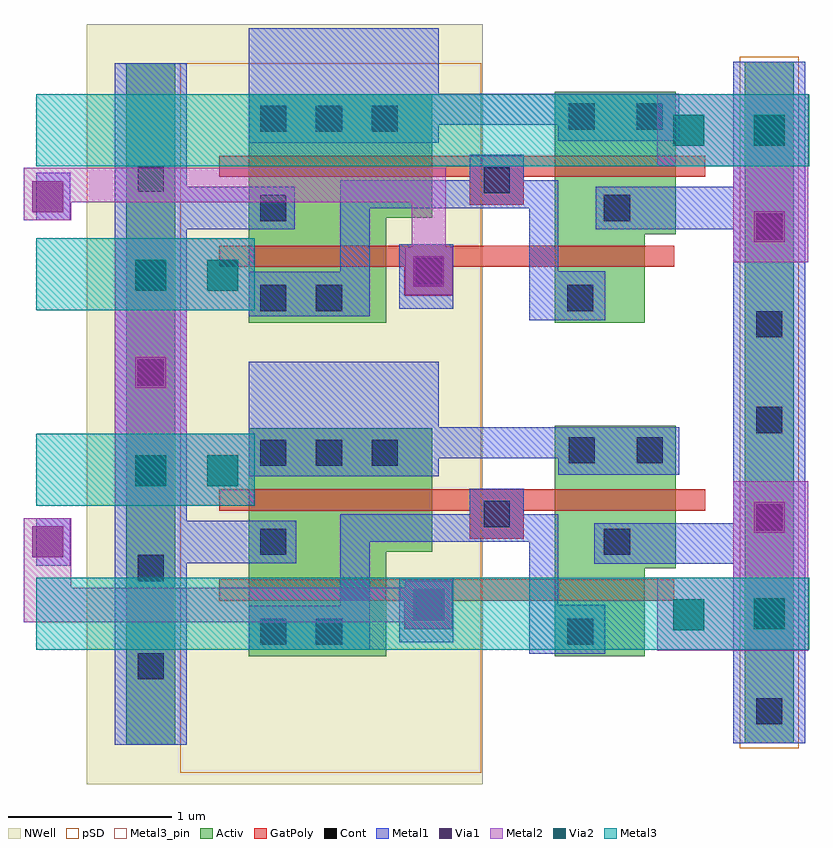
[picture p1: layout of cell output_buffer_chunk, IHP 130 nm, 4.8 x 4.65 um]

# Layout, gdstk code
import gdstk
lib = gdstk.Library(unit=1e-6, precision=1e-09)
def R(c, l, rs):  # rectangles x0, y0, x1, y1
    for r in rs: c.add(gdstk.rectangle(r[:2], r[2:], *l))
def A(c, l, x, y, w, h, nx, ny, dx, dy):  # array of equal rectangles
    R(c, l, [(x+i*dx, y+j*dy, x+i*dx+w, y+j*dy+h) for i in range(nx) for j in range(ny)])
def P(c, l, *ps):  # polygons
    for p in ps: c.add(gdstk.Polygon(p, *l))
Activ = (1, 0)
GatPoly = (5, 0)
Cont = (6, 0)
Metal1 = (8, 0)
Metal2 = (10, 0)
pSD = (14, 0)
Via1 = (19, 0)
Via2 = (29, 0)
Metal3 = (30, 0)
Metal3_pin = (30, 2)
NWell = (31, 0)

output_buffer_chunk = lib.new_cell('output_buffer_chunk')
R(output_buffer_chunk, Activ, [(0.005,0.04,0.305,4.205), (3.785,0.05,4.085,4.215)])
P(output_buffer_chunk, Activ, [(0.755,2.62),(0.755,4.015),(1.875,4.015),(1.875,3.26),(1.595,3.26),(1.595,2.62)],
  [(2.625,2.62),(2.625,4.03),(3.365,4.03),(3.365,3.16),(3.175,3.16),(3.175,2.62)],
  [(2.625,0.58),(2.625,1.99),(3.365,1.99),(3.365,1.12),(3.175,1.12),(3.175,0.58)],
  [(0.755,0.58),(0.755,1.975),(1.875,1.975),(1.875,1.22),(1.595,1.22),(1.595,0.58)])
P(output_buffer_chunk, GatPoly, [(2.105,3.34),(2.105,3.51),(0.575,3.51),(0.575,3.64),(3.545,3.64),(3.545,3.51),(2.435,3.51),(2.435,3.34)],
  [(1.705,2.785),(1.705,2.96),(0.575,2.96),(0.575,3.09),(3.355,3.09),(3.355,2.96),(2.005,2.96),(2.005,2.785)],
  [(2.105,1.3),(2.105,1.47),(0.575,1.47),(0.575,1.6),(3.545,1.6),(3.545,1.47),(2.435,1.47),(2.435,1.3)],
  [(1.705,0.745),(1.705,0.92),(0.575,0.92),(0.575,1.05),(3.355,1.05),(3.355,0.92),(2.005,0.92),(2.005,0.745)])
A(output_buffer_chunk, Cont, 0.825, 1.745, 0.16, 0.16, 3, 2, 0.34, 2.04)
R(output_buffer_chunk, Cont, [(3.855,0.165,4.015,0.325), (0.075,0.44,0.235,0.6), (0.825,0.65,0.985,0.81), (1.165,0.65,1.325,0.81), (2.7,0.65,2.86,0.81), (3.855,0.76,4.015,0.92), (1.775,0.815,1.935,0.975), (0.075,1.04,0.235,1.2), (0.825,1.2,0.985,1.36), (2.925,1.2,3.085,1.36), (3.855,1.35,4.015,1.51), (3.855,1.35,4.015,1.51), (2.19,1.37,2.35,1.53), (0.075,1.635,0.235,1.795), (2.71,1.76,2.87,1.92), (3.125,1.76,3.285,1.92), (3.855,1.945,4.015,2.105), (0.075,2.235,0.235,2.395), (3.855,2.53,4.015,2.69), (0.825,2.69,0.985,2.85), (1.165,2.69,1.325,2.85), (2.7,2.69,2.86,2.85), (0.075,2.83,0.235,2.99), (1.775,2.855,1.935,3.015), (3.855,3.125,4.015,3.285), (0.825,3.24,0.985,3.4), (2.925,3.24,3.085,3.4), (2.19,3.41,2.35,3.57), (0.075,3.42,0.235,3.58), (3.855,3.715,4.015,3.875), (2.71,3.8,2.87,3.96), (3.125,3.8,3.285,3.96)])
R(output_buffer_chunk, Metal1, [(1.675,0.665,2.005,1.06), (-0.545,1.135,-0.335,1.425), (1.675,2.705,2.005,3.1), (-0.545,3.245,-0.335,3.535)])
P(output_buffer_chunk, Metal1, [(0.755,1.68),(0.755,2.38),(1.915,2.38),(1.915,1.98),(3.385,1.98),(3.385,1.69),(2.645,1.69),(2.645,1.79),(1.915,1.79),(1.915,1.68)],
  [(0.755,3.72),(0.755,4.42),(1.915,4.42),(1.915,4.02),(3.385,4.02),(3.385,3.73),(2.645,3.73),(2.645,3.83),(1.915,3.83),(1.915,3.72)],
  [(3.715,0.05),(3.715,1.145),(2.865,1.145),(2.865,1.395),(3.715,1.395),(3.715,3.19),(2.875,3.19),(2.875,3.45),(3.715,3.45),(3.715,4.215),(4.155,4.215),(4.155,0.05)],
  [(-0.065,0.04),(-0.065,4.205),(0.375,4.205),(0.375,3.45),(1.035,3.45),(1.035,3.19),(0.375,3.19),(0.375,1.41),(1.045,1.41),(1.045,1.15),(0.375,1.15),(0.375,0.04)],
  [(2.47,2.635),(2.47,3.32),(1.495,3.32),(1.495,2.66),(0.755,2.66),(0.755,2.93),(1.315,2.93),(1.315,3.49),(2.105,3.49),(2.105,3.645),(2.435,3.645),(2.435,3.49),(2.645,3.49),(2.645,2.935),(2.935,2.935),(2.935,2.635)],
  [(2.47,0.595),(2.47,1.28),(1.495,1.28),(1.495,0.62),(0.755,0.62),(0.755,0.89),(1.315,0.89),(1.315,1.45),(2.105,1.45),(2.105,1.605),(2.435,1.605),(2.435,1.45),(2.645,1.45),(2.645,0.895),(2.935,0.895),(2.935,0.595)])
P(output_buffer_chunk, Metal2, [(3.25,0.615),(3.25,1.06),(3.715,1.06),(3.715,1.65),(4.175,1.65),(4.175,0.615)],
  [(3.715,2.99),(3.715,3.575),(3.25,3.575),(3.25,4.015),(4.175,4.015),(4.175,2.99)],
  [(-0.065,1.5),(-0.065,3.135),(0.79,3.135),(0.79,2.695),(0.375,2.695),(0.375,1.94),(0.79,1.94),(0.79,1.5)],
  [(1.71,2.79),(1.71,3.08),(1.75,3.08),(1.75,3.355),(-0.33,3.355),(-0.33,3.245),(-0.62,3.245),(-0.62,3.565),(-0.33,3.565),(1.96,3.565),(1.96,3.08),(2,3.08),(2,2.79)],
  [(1.71,0.75),(1.71,0.79),(-0.62,0.79),(-0.62,1.425),(-0.33,1.425),(-0.33,1),(1.71,1),(1.71,1.04),(2,1.04),(2,0.75)])
R(output_buffer_chunk, pSD, [(0.335,-0.13,2.175,4.205), (3.755,0.02,4.115,4.245)])
R(output_buffer_chunk, Via1, [(3.84,0.745,4.03,0.935), (1.76,0.8,1.95,0.99), (-0.57,1.185,-0.38,1.375), (3.84,1.335,4.03,1.525), (0.06,1.62,0.25,1.81), (0.06,2.22,0.25,2.41), (0.06,2.815,0.25,3.005), (1.76,2.84,1.95,3.03), (3.84,3.11,4.03,3.3), (-0.57,3.295,-0.38,3.485), (3.84,3.7,4.03,3.89)])
R(output_buffer_chunk, Via2, [(3.35,0.74,3.54,0.93), (3.84,0.745,4.03,0.935), (0.06,1.62,0.25,1.81), (0.5,1.62,0.69,1.81), (0.06,2.815,0.25,3.005), (0.5,2.815,0.69,3.005), (3.35,3.7,3.54,3.89), (3.84,3.7,4.03,3.89)])
R(output_buffer_chunk, Metal3, [(-0.545,0.62,4.18,1.06), (-0.545,1.5,0.79,1.94), (-0.545,2.695,0.79,3.135), (-0.545,3.575,4.18,4.015)])
R(output_buffer_chunk, Metal3_pin, [(-0.545,0.62,4.18,1.06), (-0.545,1.5,0.79,1.94), (-0.545,2.695,0.79,3.135), (-0.545,3.575,4.18,4.015)])
R(output_buffer_chunk, NWell, [(-0.235,-0.2,2.185,4.445)])

lib.write_gds('output_buffer_chunk.gds')
